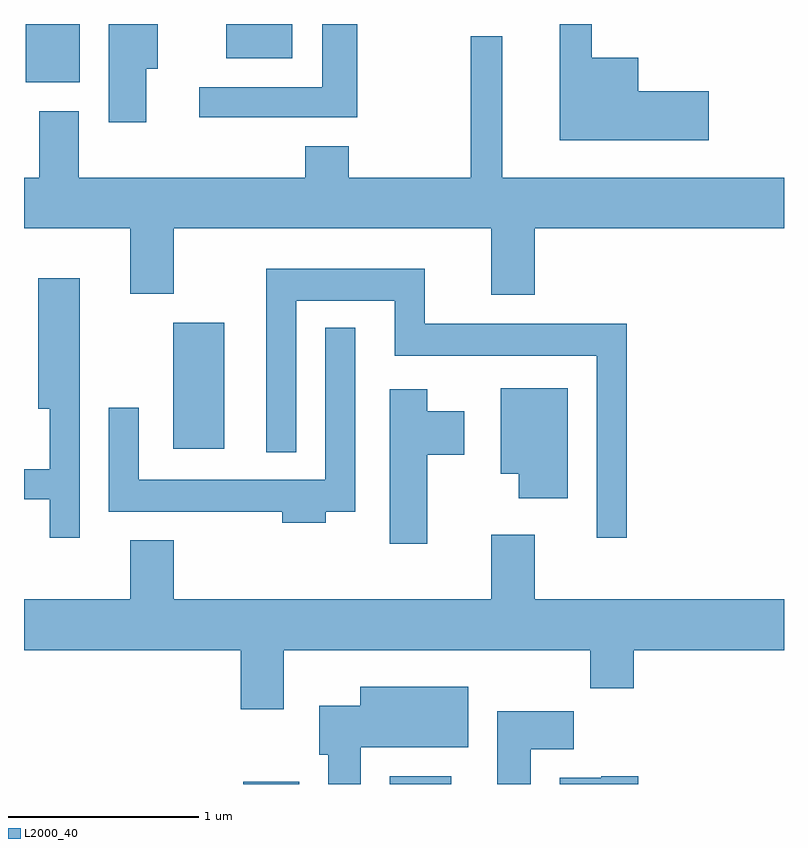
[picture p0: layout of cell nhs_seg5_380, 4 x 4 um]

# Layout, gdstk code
import gdstk
lib = gdstk.Library(unit=1e-6, precision=1e-09)
def R(c, l, rs):  # rectangles x0, y0, x1, y1
    for r in rs: c.add(gdstk.rectangle(r[:2], r[2:], *l))
def P(c, l, *ps):  # polygons
    for p in ps: c.add(gdstk.Polygon(p, *l))
L2000_40 = (2000, 40)

nhs_seg5_380 = lib.new_cell('nhs_seg5_380')
R(nhs_seg5_380, L2000_40, [(196.766,1476.072,197.059,1476.084), (197.536,1476.072,197.859,1476.114), (196.396,1477.836,196.664,1478.499), (195.621,1479.766,195.904,1480.072), (196.676,1479.891,197.024,1480.072)])
P(nhs_seg5_380, L2000_40, [(197.364,1480.072),(197.181,1480.072),(197.181,1479.739),(196.533,1479.739),(196.533,1479.581),(197.364,1479.581)],
  [(196.254,1479.836),(196.314,1479.836),(196.314,1480.072),(196.056,1480.072),(196.056,1479.556),(196.254,1479.556)],
  [(199.214,1479.719),(198.844,1479.719),(198.844,1479.894),(198.599,1479.894),(198.599,1480.072),(198.431,1480.072),(198.431,1479.461),(199.214,1479.461)],
  [(198.299,1478.996),(199.611,1478.996),(199.611,1479.264),(198.129,1479.264),(198.129,1480.008),(197.961,1480.008),(197.961,1479.264),(197.319,1479.264),(197.319,1479.429),(197.091,1479.429),(197.091,1479.264),(195.899,1479.264),(195.899,1479.614),(195.691,1479.614),(195.691,1479.264),(195.611,1479.264),(195.611,1478.996),(196.171,1478.996),(196.171,1478.651),(196.399,1478.651),(196.399,1478.996),(198.071,1478.996),(198.071,1478.646),(198.299,1478.646)],
  [(198.784,1478.494),(197.719,1478.494),(197.719,1478.784),(196.886,1478.784),(196.886,1477.818),(197.044,1477.818),(197.044,1478.616),(197.561,1478.616),(197.561,1478.326),(198.626,1478.326),(198.626,1477.368),(198.784,1477.368)],
  [(195.904,1478.734),(195.686,1478.734),(195.686,1478.046),(195.746,1478.046),(195.746,1477.729),(195.611,1477.729),(195.611,1477.571),(195.746,1477.571),(195.746,1477.368),(195.904,1477.368)],
  [(197.199,1477.506),(197.354,1477.506),(197.354,1478.473),(197.196,1478.473),(197.196,1477.674),(196.214,1477.674),(196.214,1478.053),(196.056,1478.053),(196.056,1477.506),(196.971,1477.506),(196.971,1477.446),(197.199,1477.446)],
  [(198.474,1478.154),(198.121,1478.154),(198.121,1477.706),(198.216,1477.706),(198.216,1477.576),(198.474,1477.576)],
  [(197.734,1477.806),(197.929,1477.806),(197.929,1478.034),(197.734,1478.034),(197.734,1478.149),(197.536,1478.149),(197.536,1477.336),(197.734,1477.336)],
  [(196.979,1476.776),(198.591,1476.776),(198.591,1476.576),(198.819,1476.576),(198.819,1476.776),(199.611,1476.776),(199.611,1477.044),(198.299,1477.044),(198.299,1477.384),(198.071,1477.384),(198.071,1477.044),(196.399,1477.044),(196.399,1477.354),(196.171,1477.354),(196.171,1477.044),(195.611,1477.044),(195.611,1476.776),(196.751,1476.776),(196.751,1476.466),(196.979,1476.466)],
  [(197.384,1476.266),(197.949,1476.266),(197.949,1476.584),(197.381,1476.584),(197.381,1476.484),(197.166,1476.484),(197.166,1476.226),(197.211,1476.226),(197.211,1476.072),(197.384,1476.072)],
  [(198.279,1476.256),(198.504,1476.256),(198.504,1476.454),(198.101,1476.454),(198.101,1476.072),(198.279,1476.072)],
  [(198.844,1476.114),(198.65,1476.114),(198.65,1476.104),(198.431,1476.104),(198.431,1476.072),(198.844,1476.072)])

lib.write_gds('nhs_seg5_380.gds')
